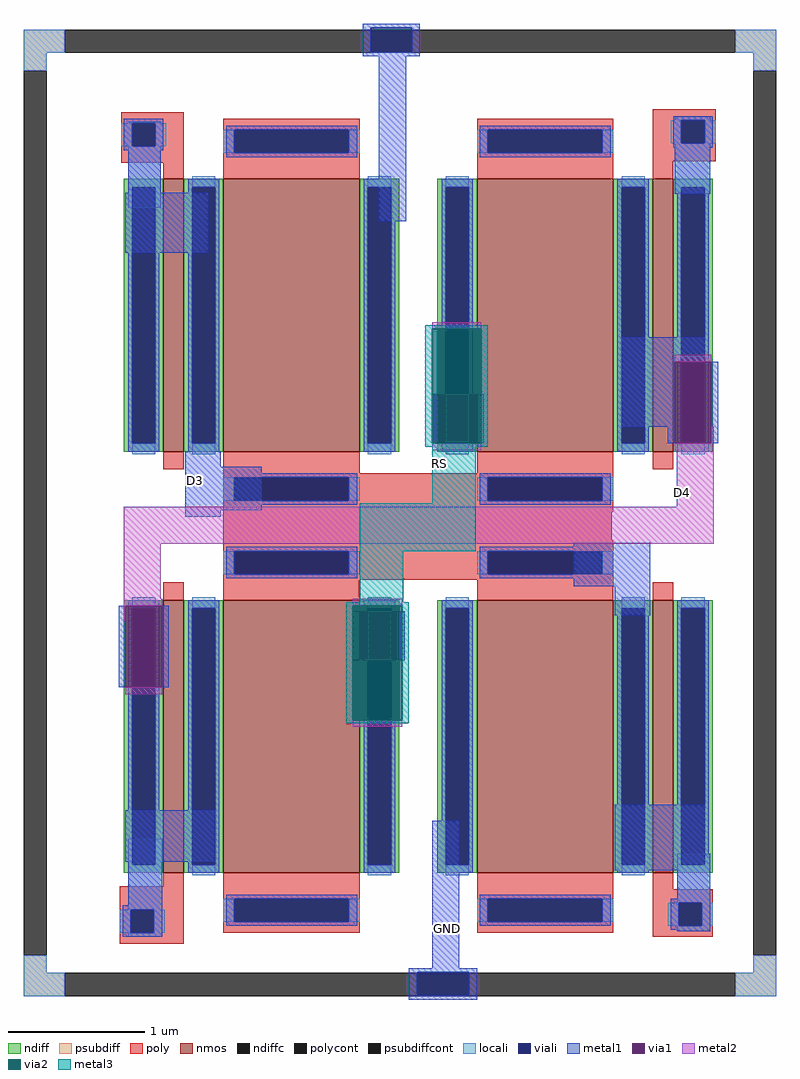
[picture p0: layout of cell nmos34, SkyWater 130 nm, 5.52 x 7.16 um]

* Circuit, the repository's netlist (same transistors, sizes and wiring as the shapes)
* NGSPICE file created from nmos34.ext - technology: sky130A

.subckt sky130_fd_pr__nfet_01v8_6C7GGL a_15_n200# a_n15_n226# a_n73_n200# VSUBS
X0 a_15_n200# a_n15_n226# a_n73_n200# VSUBS sky130_fd_pr__nfet_01v8 ad=0.58 pd=4.58 as=0.58 ps=4.58 w=2 l=0.15
.ends

.subckt sky130_fd_pr__nfet_01v8_T4466P a_n286_n597# a_28_109# a_n344_109# a_28_n509#
+ a_n344_n509# a_86_21# a_286_109# a_286_n509# a_n86_109# a_n286_21# a_n86_n509# a_86_n597#
+ VSUBS
X0 a_286_109# a_86_21# a_28_109# VSUBS sky130_fd_pr__nfet_01v8 ad=0.58 pd=4.58 as=0.58 ps=4.58 w=2 l=1
X1 a_n86_n509# a_n286_n597# a_n344_n509# VSUBS sky130_fd_pr__nfet_01v8 ad=0.58 pd=4.58 as=0.58 ps=4.58 w=2 l=1
X2 a_286_n509# a_86_n597# a_28_n509# VSUBS sky130_fd_pr__nfet_01v8 ad=0.58 pd=4.58 as=0.58 ps=4.58 w=2 l=1
X3 a_n86_109# a_n286_21# a_n344_109# VSUBS sky130_fd_pr__nfet_01v8 ad=0.58 pd=4.58 as=0.58 ps=4.58 w=2 l=1
.ends

.subckt nmos34 D3 D4 RS GND
Xsky130_fd_pr__nfet_01v8_6C7GGL_0 D3 D3 D3 GND sky130_fd_pr__nfet_01v8_6C7GGL
Xsky130_fd_pr__nfet_01v8_6C7GGL_1 D3 D3 D3 GND sky130_fd_pr__nfet_01v8_6C7GGL
Xsky130_fd_pr__nfet_01v8_6C7GGL_2 D4 D4 D4 GND sky130_fd_pr__nfet_01v8_6C7GGL
Xsky130_fd_pr__nfet_01v8_6C7GGL_3 D4 D4 D4 GND sky130_fd_pr__nfet_01v8_6C7GGL
Xsky130_fd_pr__nfet_01v8_T4466P_0 D3 RS D3 GND D4 D3 D4 D3 GND D3 RS D3 GND sky130_fd_pr__nfet_01v8_T4466P
.ends

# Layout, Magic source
magic
tech sky130A
magscale 1 2
<< psubdiff >>
rect -235 1291 -175 1325
rect 809 1291 869 1325
rect -235 1265 -201 1291
rect 835 1265 869 1291
rect -235 -59 -201 -33
rect 835 -59 869 -33
rect -235 -93 -175 -59
rect 809 -93 869 -59
<< psubdiffcont >>
rect -175 1291 809 1325
rect -235 -33 -201 1265
rect 835 -33 869 1265
rect -175 -93 809 -59
<< poly >>
rect -92 1188 0 1204
rect -92 1154 -76 1188
rect -42 1154 0 1188
rect -92 1130 0 1154
rect 688 1192 780 1208
rect 688 1158 730 1192
rect 764 1158 780 1192
rect 688 1132 780 1158
rect 58 518 628 674
rect -94 34 0 68
rect -94 0 -78 34
rect -44 0 0 34
rect -94 -16 0 0
rect 688 44 776 64
rect 688 10 726 44
rect 760 10 776 44
rect 688 -6 776 10
<< polycont >>
rect -76 1154 -42 1188
rect 730 1158 764 1192
rect -78 0 -44 34
rect 726 10 760 44
<< locali >>
rect -235 1291 -175 1325
rect 809 1291 869 1325
rect -235 1265 -201 1291
rect 835 1265 869 1291
rect 720 1192 772 1198
rect -82 1188 -34 1190
rect -92 1154 -76 1188
rect -42 1154 -26 1188
rect 714 1158 730 1192
rect 764 1158 780 1192
rect -82 1064 -34 1154
rect 720 1084 772 1158
rect -82 34 -32 138
rect 724 44 772 116
rect -94 0 -78 34
rect -44 0 -28 34
rect 710 10 726 44
rect 760 10 776 44
rect 724 2 772 10
rect -82 -6 -32 0
rect -235 -59 -201 -33
rect 835 -59 869 -33
rect -235 -93 -175 -59
rect 809 -93 869 -59
<< viali >>
rect 274 1325 334 1328
rect 274 1292 334 1325
rect -76 1154 -42 1188
rect 730 1158 764 1192
rect -78 0 -44 34
rect 726 10 760 44
rect 342 -59 418 -58
rect 342 -92 418 -59
<< metal1 >>
rect 262 1328 346 1334
rect 262 1292 274 1328
rect 334 1292 346 1328
rect 262 1286 346 1292
rect -88 1188 -30 1194
rect -88 1154 -76 1188
rect -42 1154 -30 1188
rect -88 1148 -30 1154
rect -82 1086 -34 1148
rect -86 998 36 1086
rect 286 1044 326 1286
rect 718 1192 776 1198
rect 718 1158 730 1192
rect 764 1158 776 1192
rect 718 1152 776 1158
rect 720 1084 772 1152
rect 638 838 770 874
rect 364 718 374 790
rect 430 718 440 790
rect 638 742 720 838
rect 710 718 720 742
rect 774 718 784 838
rect 2 684 54 706
rect 2 620 114 684
rect 2 610 54 620
rect 572 508 684 572
rect -96 360 -86 480
rect -32 360 -22 480
rect 248 400 258 472
rect 314 400 324 472
rect 632 466 684 508
rect -86 104 46 180
rect -82 40 -32 104
rect -90 34 -32 40
rect -90 0 -78 34
rect -44 0 -32 34
rect -90 -6 -32 0
rect 364 -52 404 164
rect 632 116 768 188
rect 632 92 772 116
rect 724 50 772 92
rect 714 44 772 50
rect 714 10 726 44
rect 760 10 772 44
rect 714 4 772 10
rect 724 2 772 4
rect 330 -58 430 -52
rect 330 -92 342 -58
rect 418 -92 430 -58
rect 330 -98 430 -92
<< via1 >>
rect 374 718 430 790
rect 720 718 774 838
rect -86 360 -32 480
rect 258 400 314 472
<< metal2 >>
rect 364 886 436 896
rect 364 708 436 718
rect 720 838 774 848
rect 774 718 777 743
rect 720 708 777 718
rect 723 625 777 708
rect -88 571 777 625
rect -88 490 -34 571
rect -88 480 -32 490
rect -88 458 -86 480
rect -86 350 -32 360
rect 248 480 320 490
rect 248 302 320 312
<< via2 >>
rect 364 790 436 886
rect 364 718 374 790
rect 374 718 430 790
rect 430 718 436 790
rect 248 472 320 480
rect 248 400 258 472
rect 258 400 314 472
rect 314 400 320 472
rect 248 312 320 400
<< metal3 >>
rect 354 886 446 891
rect 354 718 364 886
rect 436 718 446 886
rect 354 713 446 718
rect 364 630 428 713
rect 258 560 428 630
rect 258 485 322 560
rect 238 480 330 485
rect 238 312 248 480
rect 320 312 330 480
rect 238 307 330 312
use sky130_fd_pr__nfet_01v8_6C7GGL  sky130_fd_pr__nfet_01v8_6C7GGL_0
transform 1 0 703 0 1 288
box -73 -226 73 226
use sky130_fd_pr__nfet_01v8_6C7GGL  sky130_fd_pr__nfet_01v8_6C7GGL_1
transform 1 0 -15 0 1 906
box -73 -226 73 226
use sky130_fd_pr__nfet_01v8_6C7GGL  sky130_fd_pr__nfet_01v8_6C7GGL_2
transform 1 0 703 0 1 906
box -73 -226 73 226
use sky130_fd_pr__nfet_01v8_6C7GGL  sky130_fd_pr__nfet_01v8_6C7GGL_3
transform 1 0 -15 0 1 288
box -73 -226 73 226
use sky130_fd_pr__nfet_01v8_T4466P  sky130_fd_pr__nfet_01v8_T4466P_0
transform 1 0 344 0 1 597
box -344 -597 344 597
<< labels >>
flabel metal1 16 664 18 664 0 FreeSans 80 0 0 0 D3
port 0 nsew
flabel metal2 732 646 732 646 0 FreeSans 80 0 0 0 D4
port 1 nsew
flabel metal3 374 688 376 688 0 FreeSans 80 0 0 0 RS
port 2 nsew
flabel metal1 382 2 390 10 0 FreeSans 80 0 0 0 GND
port 3 nsew
<< end >>

# cell sky130_fd_pr__nfet_01v8_6C7GGL: kit device sky130_fd_pr__nfet_01v8, w 2 l 0.150 m 1 nf 1 diffcov 100 polycov 100 guard 0 glc 1 grc 1 gtc 1 gbc 1 tbcov 100 rlcov 100 topc 0 botc 0 poverlap 0 doverlap 0 lmin 0.15 wmin 0.42 compatible {sky130_fd_pr__nfet_01v8 sky130_fd_pr__nfet_01v8_lvt sky130_fd_bs_flash__special_sonosfet_star sky130_fd_pr__nfet_g5v0d10v5 sky130_fd_pr__nfet_05v0_nvt sky130_fd_pr__nfet_03v3_nvt} full_metal 1 viasrc 100 viadrn 100 viagate 100 viagb 0 viagr 0 viagl 0 viagt 0

# cell sky130_fd_pr__nfet_01v8_T4466P: kit device sky130_fd_pr__nfet_01v8, w 2 l 1 m 2 nf 2 diffcov 100 polycov 100 guard 0 glc 1 grc 1 gtc 1 gbc 1 tbcov 100 rlcov 100 topc 1 botc 1 poverlap 0 doverlap 0 lmin 0.15 wmin 0.42 compatible {sky130_fd_pr__nfet_01v8 sky130_fd_pr__nfet_01v8_lvt sky130_fd_bs_flash__special_sonosfet_star sky130_fd_pr__nfet_g5v0d10v5 sky130_fd_pr__nfet_05v0_nvt sky130_fd_pr__nfet_03v3_nvt} full_metal 1 viasrc 100 viadrn 100 viagate 100 viagb 0 viagr 0 viagl 0 viagt 0
